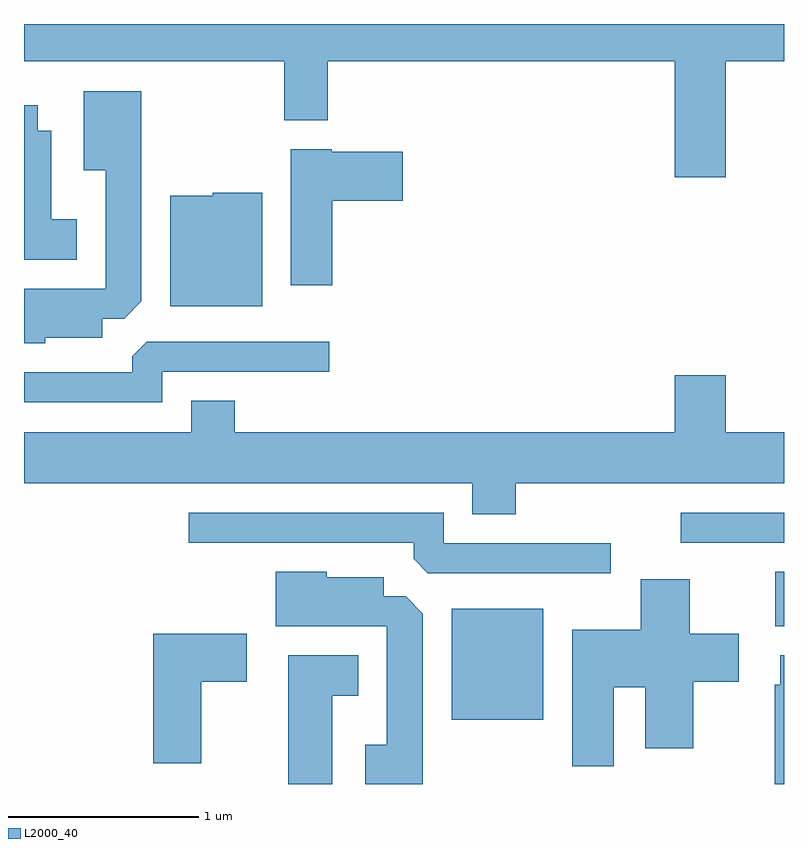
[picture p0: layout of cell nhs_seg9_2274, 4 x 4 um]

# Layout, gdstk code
import gdstk
lib = gdstk.Library(unit=1e-6, precision=1e-09)
def R(c, l, rs):  # rectangles x0, y0, x1, y1
    for r in rs: c.add(gdstk.rectangle(r[:2], r[2:], *l))
def P(c, l, *ps):  # polygons
    for p in ps: c.add(gdstk.Polygon(p, *l))
L2000_40 = (2000, 40)

nhs_seg9_2274 = lib.new_cell('nhs_seg9_2274')
R(nhs_seg9_2274, L2000_40, [(253.861,2012.771,254.344,2013.354), (255.566,2013.261,255.611,2013.549), (255.068,2013.701,255.611,2013.859)])
P(nhs_seg9_2274, L2000_40, [(255.304,2016.236),(255.611,2016.236),(255.611,2016.432),(251.611,2016.432),(251.611,2016.236),(252.981,2016.236),(252.981,2015.926),(253.209,2015.926),(253.209,2016.236),(255.036,2016.236),(255.036,2015.626),(255.304,2015.626)],
  [(251.724,2014.781),(252.024,2014.781),(252.024,2014.881),(252.139,2014.881),(252.229,2014.972),(252.229,2016.079),(251.926,2016.079),(251.926,2015.661),(252.041,2015.661),(252.041,2015.039),(251.611,2015.039),(251.611,2014.751),(251.724,2014.751)],
  [(251.889,2015.404),(251.754,2015.404),(251.754,2015.869),(251.684,2015.869),(251.684,2016.004),(251.611,2016.004),(251.611,2015.191),(251.889,2015.191)],
  [(253.234,2015.501),(253.604,2015.501),(253.604,2015.759),(253.23,2015.759),(253.23,2015.774),(253.016,2015.774),(253.016,2015.056),(253.234,2015.056)],
  [(252.864,2015.544),(252.605,2015.544),(252.605,2015.529),(252.381,2015.529),(252.381,2014.946),(252.864,2014.946)],
  [(252.339,2014.601),(253.218,2014.601),(253.218,2014.759),(252.257,2014.759),(252.181,2014.684),(252.181,2014.599),(251.611,2014.599),(251.611,2014.441),(252.339,2014.441)],
  [(254.199,2014.016),(255.611,2014.016),(255.611,2014.284),(255.304,2014.284),(255.304,2014.584),(255.036,2014.584),(255.036,2014.284),(252.719,2014.284),(252.719,2014.449),(252.491,2014.449),(252.491,2014.284),(251.611,2014.284),(251.611,2014.016),(253.971,2014.016),(253.971,2013.851),(254.199,2013.851)],
  [(254.698,2013.699),(253.819,2013.699),(253.819,2013.859),(252.478,2013.859),(252.478,2013.701),(253.661,2013.701),(253.661,2013.617),(253.737,2013.541),(254.698,2013.541)],
  [(253.709,2013.329),(253.619,2013.419),(253.504,2013.419),(253.504,2013.519),(253.204,2013.519),(253.204,2013.549),(252.936,2013.549),(252.936,2013.261),(253.521,2013.261),(253.521,2012.639),(253.406,2012.639),(253.406,2012.432),(253.709,2012.432)],
  [(254.714,2012.941),(254.881,2012.941),(254.881,2012.621),(255.134,2012.621),(255.134,2012.971),(255.374,2012.971),(255.374,2013.224),(255.114,2013.224),(255.114,2013.509),(254.856,2013.509),(254.856,2013.244),(254.496,2013.244),(254.496,2012.526),(254.714,2012.526)],
  [(252.544,2012.971),(252.784,2012.971),(252.784,2013.224),(252.291,2013.224),(252.291,2012.541),(252.544,2012.541)],
  [(255.611,2013.109),(255.591,2013.109),(255.591,2012.954),(255.561,2012.954),(255.561,2012.432),(255.611,2012.432)],
  [(253.234,2012.896),(253.369,2012.896),(253.369,2013.109),(253.001,2013.109),(253.001,2012.432),(253.234,2012.432)])

lib.write_gds('nhs_seg9_2274.gds')
